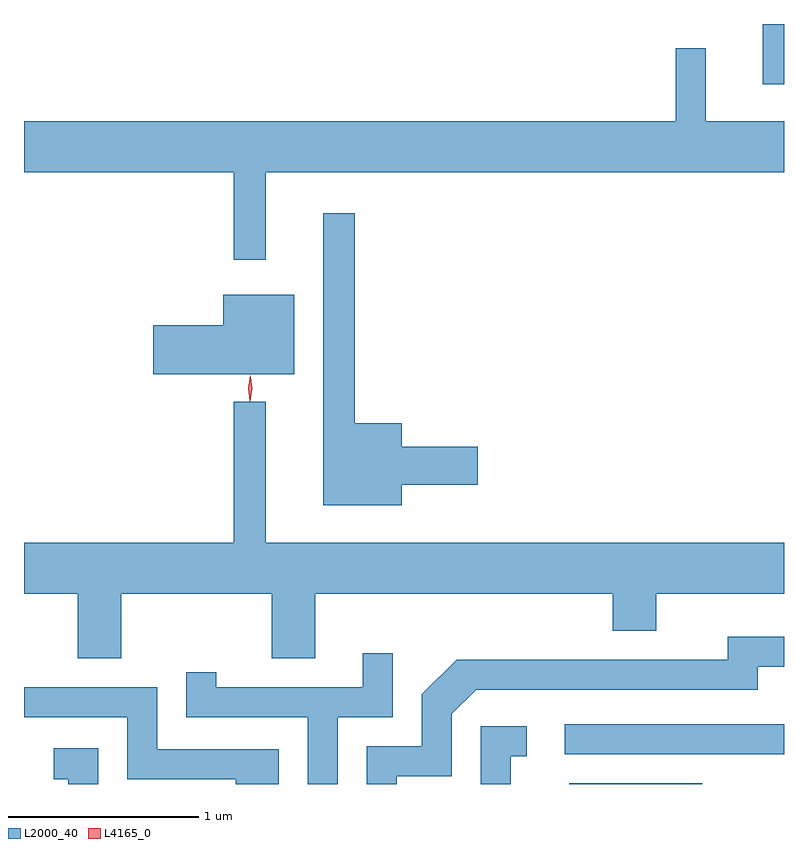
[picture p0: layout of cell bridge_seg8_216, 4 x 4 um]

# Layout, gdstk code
import gdstk
lib = gdstk.Library(unit=1e-6, precision=1e-09)
def R(c, l, rs):  # rectangles x0, y0, x1, y1
    for r in rs: c.add(gdstk.rectangle(r[:2], r[2:], *l))
def P(c, l, *ps):  # polygons
    for p in ps: c.add(gdstk.Polygon(p, *l))
L2000_40 = (2000, 40)
L4165_0 = (4165, 0)

bridge_seg8_216 = lib.new_cell('bridge_seg8_216')
R(bridge_seg8_216, L2000_40, [(1102.526,1904.235,1103.228,1904.239), (1102.503,1904.391,1103.657,1904.549), (1103.546,1907.918,1103.657,1908.235)])
P(bridge_seg8_216, L2000_40, [(1100.929,1907.456),(1103.657,1907.456),(1103.657,1907.724),(1103.244,1907.724),(1103.244,1908.108),(1103.086,1908.108),(1103.086,1907.724),(1099.657,1907.724),(1099.657,1907.456),(1100.761,1907.456),(1100.761,1906.993),(1100.929,1906.993)],
  [(1101.644,1905.811),(1102.044,1905.811),(1102.044,1906.009),(1101.644,1906.009),(1101.644,1906.134),(1101.399,1906.134),(1101.399,1907.238),(1101.231,1907.238),(1101.231,1905.701),(1101.644,1905.701)],
  [(1101.079,1906.809),(1100.706,1906.809),(1100.706,1906.649),(1100.336,1906.649),(1100.336,1906.391),(1101.079,1906.391)],
  [(1100.169,1905.236),(1100.961,1905.236),(1100.961,1904.896),(1101.189,1904.896),(1101.189,1905.236),(1102.756,1905.236),(1102.756,1905.041),(1102.984,1905.041),(1102.984,1905.236),(1103.657,1905.236),(1103.657,1905.504),(1100.929,1905.504),(1100.929,1906.248),(1100.761,1906.248),(1100.761,1905.504),(1099.657,1905.504),(1099.657,1905.236),(1099.941,1905.236),(1099.941,1904.896),(1100.169,1904.896)],
  [(1101.619,1904.276),(1101.909,1904.276),(1101.909,1904.604),(1102.037,1904.731),(1103.519,1904.731),(1103.519,1904.851),(1103.657,1904.851),(1103.657,1905.009),(1103.361,1905.009),(1103.361,1904.889),(1101.934,1904.889),(1101.751,1904.707),(1101.751,1904.434),(1101.461,1904.434),(1101.461,1904.235),(1101.619,1904.235)],
  [(1101.309,1904.586),(1101.599,1904.586),(1101.599,1904.923),(1101.441,1904.923),(1101.441,1904.744),(1100.669,1904.744),(1100.669,1904.823),(1100.511,1904.823),(1100.511,1904.586),(1101.151,1904.586),(1101.151,1904.235),(1101.309,1904.235)],
  [(1100.999,1904.419),(1100.359,1904.419),(1100.359,1904.744),(1099.657,1904.744),(1099.657,1904.586),(1100.201,1904.586),(1100.201,1904.261),(1100.771,1904.261),(1100.771,1904.235),(1100.999,1904.235)],
  [(1102.219,1904.381),(1102.303,1904.381),(1102.303,1904.539),(1102.061,1904.539),(1102.061,1904.235),(1102.219,1904.235)],
  [(1100.049,1904.424),(1099.813,1904.424),(1099.813,1904.261),(1099.891,1904.261),(1099.891,1904.235),(1100.049,1904.235)])
P(bridge_seg8_216, L4165_0, [(1100.846,1906.253),(1100.838,1906.316),(1100.848,1906.379),(1100.849,1906.38),(1100.85,1906.379),(1100.858,1906.316),(1100.848,1906.253),(1100.847,1906.253)],
  [(1100.846,1906.25),(1100.838,1906.318),(1100.848,1906.386),(1100.848,1906.386),(1100.849,1906.386),(1100.858,1906.318),(1100.848,1906.25),(1100.847,1906.25)])

lib.write_gds('bridge_seg8_216.gds')
